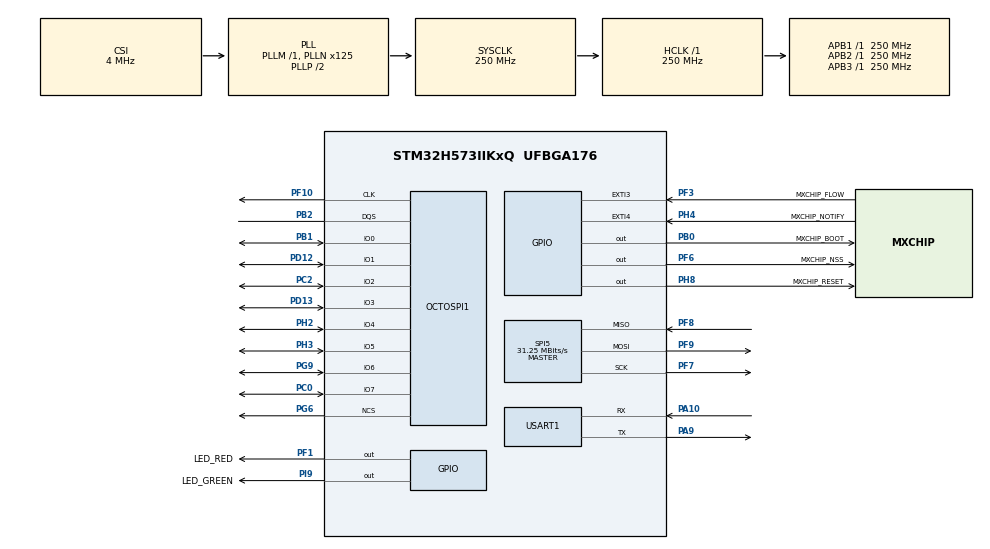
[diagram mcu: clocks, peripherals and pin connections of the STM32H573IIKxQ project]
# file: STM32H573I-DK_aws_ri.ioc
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CORTEX_M33_NS.AccessPermission-Cortex_Memory_Protection_Unit_Region0_Settings=MPU_REGION_PRIV_RO
CORTEX_M33_NS.BaseAddress-Cortex_Memory_Protection_Unit_Region0_Settings=0x08FFF800
CORTEX_M33_NS.DisableExec-Cortex_Memory_Protection_Unit_Region0_Settings=MPU_INSTRUCTION_ACCESS_DISABLE
CORTEX_M33_NS.Enable-Cortex_Memory_Protection_Unit_Region0_Settings=MPU_REGION_ENABLE
CORTEX_M33_NS.LimitAddress-Cortex_Memory_Protection_Unit_Region0_Settings=0x08FFF80C
CORTEX_M33_NS.MPU_Control=MPU_PRIVILEGED_DEFAULT
CORTEX_M33_NS.userName=CORTEX_M33
GPDMA1.DESTINC_GPDMACH4=DMA_DINC_INCREMENTED
GPDMA1.DIRECTION_GPDMACH5=DMA_MEMORY_TO_PERIPH
GPDMA1.IPHANDLE_GPDMACH4-SIMPLEREQUEST_GPDMACH4=__NULL
GPDMA1.IPHANDLE_GPDMACH5-SIMPLEREQUEST_GPDMACH5=__NULL
GPDMA1.PRIORITY_GPDMACH4=DMA_LOW_PRIORITY_HIGH_WEIGHT
GPDMA1.PRIORITY_GPDMACH5=DMA_LOW_PRIORITY_HIGH_WEIGHT
GPDMA1.REQUEST_GPDMACH4=GPDMA1_REQUEST_SPI5_RX
GPDMA1.REQUEST_GPDMACH5=GPDMA1_REQUEST_SPI5_TX
GPDMA1.SRCINC_GPDMACH5=DMA_SINC_INCREMENTED
GPDMA1.TRANSFERALLOCATEDPORTDEST_GPDMACH4=DMA_DEST_ALLOCATED_PORT1
GPDMA1.TRANSFERALLOCATEDPORTDEST_GPDMACH5=DMA_DEST_ALLOCATED_PORT1
IWDG.Prescaler=IWDG_PRESCALER_1024
IWDG.Reload=320
IWDG.Window=0xfff
Mcu.Family=STM32H5
Mcu.Name=STM32H573IIKxQ
Mcu.Package=UFBGA176
NVIC.EXTI3_IRQn=true\:5\:0\:true\:false\:true\:true\:true\:true
NVIC.EXTI4_IRQn=true\:5\:0\:true\:false\:true\:true\:true\:true
NVIC.GPDMA1_Channel4_IRQn=true\:5\:0\:true\:false\:true\:false\:true\:true
NVIC.GPDMA1_Channel5_IRQn=true\:5\:0\:true\:false\:true\:false\:true\:true
NVIC.OCTOSPI1_IRQn=true\:5\:0\:true\:false\:true\:true\:true\:true
NVIC.PriorityGroup=NVIC_PRIORITYGROUP_4
NVIC.RNG_IRQn=true\:5\:0\:true\:false\:true\:true\:true\:true
NVIC.SPI5_IRQn=true\:5\:0\:true\:false\:true\:true\:true\:true
NVIC.USART1_IRQn=true\:5\:0\:true\:false\:true\:true\:true\:true
OCTOSPI1.ChipSelectHighTimeCycle=2
OCTOSPI1.ClockPrescaler=4
OCTOSPI1.DelayBlockBypass=HAL_XSPI_DELAY_BLOCK_ON
OCTOSPI1.DelayHoldQuarterCycle=HAL_XSPI_DHQC_ENABLE
OCTOSPI1.FifoThresholdByte=4
OCTOSPI1.FreeRunningClock=HAL_XSPI_FREERUNCLK_ENABLE
OCTOSPI1.MemorySize=HAL_XSPI_SIZE_64MB
OCTOSPI1.MemoryType=HAL_XSPI_MEMTYPE_MACRONIX
OCTOSPI1.PhaseSel=2
OCTOSPI1.Units=56
PA10.Mode=Asynchronous
PA10.Signal=USART1_RX
PA9.Mode=Asynchronous
PA9.Signal=USART1_TX
PB0.GPIO_Label=MXCHIP_BOOT
PB0.PinState=GPIO_PIN_SET
PB0.Signal=GPIO_Output
PB1.Mode=octods_mode
PB1.Signal=OCTOSPI1_IO0
PB2.Mode=octods_mode
PB2.Signal=OCTOSPI1_DQS
PC0.Mode=octods_mode
PC0.Signal=OCTOSPI1_IO7
PC14-OSC32_IN(OSC32_IN).Mode=LSE-External-Oscillator
PC14-OSC32_IN(OSC32_IN).Signal=RCC_OSC32_IN
PC15-OSC32_OUT(OSC32_OUT).Mode=LSE-External-Oscillator
PC15-OSC32_OUT(OSC32_OUT).Signal=RCC_OSC32_OUT
PC2.Mode=octods_mode
PC2.Signal=OCTOSPI1_IO2
PD12.Mode=octods_mode
PD12.Signal=OCTOSPI1_IO1
PD13.Mode=octods_mode
PD13.Signal=OCTOSPI1_IO3
PF1.GPIO_Label=LED_RED
PF1.GPIO_Speed=GPIO_SPEED_FREQ_HIGH
PF1.Signal=GPIO_Output
PF10.Mode=octods_mode
PF10.Signal=OCTOSPI1_CLK
PF3.GPIO_Label=MXCHIP_FLOW
PF3.Signal=GPXTI3
PF6.GPIO_Label=MXCHIP_NSS
PF6.GPIO_Speed=GPIO_SPEED_FREQ_HIGH
PF6.PinState=GPIO_PIN_SET
PF6.Signal=GPIO_Output
PF7.GPIO_Speed=GPIO_SPEED_FREQ_HIGH
PF7.Mode=Full_Duplex_Master
PF7.Signal=SPI5_SCK
PF8.GPIO_Speed=GPIO_SPEED_FREQ_HIGH
PF8.Mode=Full_Duplex_Master
PF8.Signal=SPI5_MISO
PF9.GPIO_Speed=GPIO_SPEED_FREQ_HIGH
PF9.Mode=Full_Duplex_Master
PF9.Signal=SPI5_MOSI
PG6.GPIO_PuPd=GPIO_PULLUP
PG6.Mode=octods_mode
PG6.Signal=OCTOSPI1_NCS
PG9.Mode=octods_mode
PG9.Signal=OCTOSPI1_IO6
PH2.Mode=octods_mode
PH2.Signal=OCTOSPI1_IO4
PH3.Mode=octods_mode
PH3.Signal=OCTOSPI1_IO5
PH4.GPIO_Label=MXCHIP_NOTIFY
PH4.Signal=GPXTI4
PH8.GPIO_Label=MXCHIP_RESET
PH8.PinState=GPIO_PIN_SET
PH8.Signal=GPIO_Output
PI9.GPIO_Label=LED_GREEN
PI9.GPIO_Speed=GPIO_SPEED_FREQ_HIGH
PI9.Signal=GPIO_Output
ProjectManager.HeapSize=0x2000
ProjectManager.StackSize=0x2000
ProjectManager.TargetToolchain=STM32CubeIDE
RCC.ADCFreq_Value=250000000
RCC.AHBFreq_Value=250000000
RCC.APB1Freq_Value=250000000
RCC.APB1TimFreq_Value=250000000
RCC.APB2Freq_Value=250000000
RCC.APB2TimFreq_Value=250000000
RCC.APB3Freq_Value=250000000
RCC.CSI_VALUE=4000000
RCC.CortexFreq_Value=250000000
RCC.EPOD_VALUE=4000000
RCC.HCLKFreq_Value=250000000
RCC.HSE_VALUE=25000000
RCC.HSI48_VALUE=48000000
RCC.HSIDiv=RCC_HSI_DIV1
RCC.HSI_VALUE=64000000
RCC.LSIRC_VALUE=32000
RCC.OCTOSPIMCLockSelection=RCC_OSPICLKSOURCE_PLL2R
RCC.PLL2N=32
RCC.PLL2R=11
RCC.PLLN=125
RCC.SYSCLKFreq_VALUE=250000000
RCC.SYSCLKSource=RCC_SYSCLKSOURCE_PLLCLK
RCC.USBFreq_Value=48000000
RCC.VCOOutputFreq_Value=500000000
SPI5.BaudRatePrescaler=SPI_BAUDRATEPRESCALER_8
SPI5.CalculateBaudRate=31.25 MBits/s
SPI5.DataSize=SPI_DATASIZE_8BIT
SPI5.Direction=SPI_DIRECTION_2LINES
SPI5.Mode=SPI_MODE_MASTER
SPI5.NSSPMode=SPI_NSS_PULSE_DISABLE
SPI5.VirtualType=VM_MASTER
TIM5.PeriodNoDither=0xffffffff
TIM5.Prescaler=4096
USART1.FIFOMode=FIFOMODE_ENABLE
USART1.RXFIFOThreshold=RXFIFO_THRESHOLD_FULL
USART1.TXFIFOThreshold=TXFIFO_THRESHOLD_EMPTY
USART1.VirtualMode=VM_ASYNC
VP_DCACHE1_VS_DCACHE.Mode=DCACHE_Activate
VP_GPDMA1_VS_GPDMACH4.Mode=SIMPLEREQUEST_GPDMACH4
VP_GPDMA1_VS_GPDMACH5.Mode=SIMPLEREQUEST_GPDMACH5
VP_ICACHE_VS_ICACHE.Mode=DirectMappedCache
VP_IWDG_VS_IWDG.Mode=IWDG_Activate
VP_PWR_VS_SECSignals.Mode=Security/Privilege
VP_RNG_VS_RNG.Mode=RNG_Activate
VP_TIM5_VS_ClockSourceINT.Mode=Internal
board=custom

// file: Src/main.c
/* USER CODE BEGIN Header */
/**
  ******************************************************************************
  * @file           : main.c
  * @brief          : Main program body
  ******************************************************************************
  * @attention
  *
  * Copyright (c) 2022 STMicroelectronics.
  * All rights reserved.
  *
  * This software is licensed under terms that can be found in the LICENSE file
  * in the root directory of this software component.
  * If no LICENSE file comes with this software, it is provided AS-IS.
  *
  ******************************************************************************
  */
/* USER CODE END Header */
#include "main.h"

/* USER CODE BEGIN Includes */
#include "FreeRTOS.h"
#include "task.h"
#include "stdlib.h"
/* USER CODE END Includes */

DCACHE_HandleTypeDef hdcache1;

IWDG_HandleTypeDef hiwdg;

XSPI_HandleTypeDef hospi1;

RNG_HandleTypeDef hrng;

SPI_HandleTypeDef hspi5;
DMA_HandleTypeDef handle_GPDMA1_Channel5;
DMA_HandleTypeDef handle_GPDMA1_Channel4;

TIM_HandleTypeDef htim5;

UART_HandleTypeDef huart1;

/* USER CODE BEGIN PV */
const IotMappedPin_t xGpioMap[ GPIO_MAX ] =
{
    { MXCHIP_FLOW_GPIO_Port, MXCHIP_FLOW_Pin 		}, /* GPIO_MX_FLOW     */
    { MXCHIP_RESET_GPIO_Port, MXCHIP_RESET_Pin		}, /* GPIO_MX_RESET    */
    { MXCHIP_NSS_GPIO_Port, MXCHIP_NSS_Pin      	}, /* GPIO_MX_NSS      */
    { MXCHIP_NOTIFY_GPIO_Port, MXCHIP_NOTIFY_Pin 	}, /* GPIO_MX_NOTIFY   */
    { LED_RED_GPIO_Port, LED_RED_Pin            	}, /* GPIO_LED_RED     */
    { LED_GREEN_GPIO_Port, LED_GREEN_Pin        	}  /* GPIO_LED_GREEN   */
};
/* USER CODE END PV */

void SystemClock_Config(void);

static void MPU_Config(void);
static void MX_GPDMA1_Init(void);

void SystemClock_Config(void)
{
  RCC_OscInitTypeDef RCC_OscInitStruct = {0};
  RCC_ClkInitTypeDef RCC_ClkInitStruct = {0};

  /** Configure the main internal regulator output voltage
  */
  __HAL_PWR_VOLTAGESCALING_CONFIG(PWR_REGULATOR_VOLTAGE_SCALE0);

  while(!__HAL_PWR_GET_FLAG(PWR_FLAG_VOSRDY)) {}

  /** Initializes the RCC Oscillators according to the specified parameters
  * in the RCC_OscInitTypeDef structure.
  */
  RCC_OscInitStruct.OscillatorType = RCC_OSCILLATORTYPE_HSI48|RCC_OSCILLATORTYPE_LSI
                              |RCC_OSCILLATORTYPE_CSI;
  RCC_OscInitStruct.LSIState = RCC_LSI_ON;
  RCC_OscInitStruct.HSI48State = RCC_HSI48_ON;
  RCC_OscInitStruct.CSIState = RCC_CSI_ON;
  RCC_OscInitStruct.CSICalibrationValue = RCC_CSICALIBRATION_DEFAULT;
  RCC_OscInitStruct.PLL.PLLState = RCC_PLL_ON;
  RCC_OscInitStruct.PLL.PLLSource = RCC_PLL1_SOURCE_CSI;
  RCC_OscInitStruct.PLL.PLLM = 1;
  RCC_OscInitStruct.PLL.PLLN = 125;
  RCC_OscInitStruct.PLL.PLLP = 2;
  RCC_OscInitStruct.PLL.PLLQ = 2;
  RCC_OscInitStruct.PLL.PLLR = 2;
  RCC_OscInitStruct.PLL.PLLRGE = RCC_PLL1_VCIRANGE_2;
  RCC_OscInitStruct.PLL.PLLVCOSEL = RCC_PLL1_VCORANGE_WIDE;
  RCC_OscInitStruct.PLL.PLLFRACN = 0;
  if (HAL_RCC_OscConfig(&RCC_OscInitStruct) != HAL_OK)
  {
    Error_Handler();
  }

  /** Initializes the CPU, AHB and APB buses clocks
  */
  RCC_ClkInitStruct.ClockType = RCC_CLOCKTYPE_HCLK|RCC_CLOCKTYPE_SYSCLK
                              |RCC_CLOCKTYPE_PCLK1|RCC_CLOCKTYPE_PCLK2
                              |RCC_CLOCKTYPE_PCLK3;
  RCC_ClkInitStruct.SYSCLKSource = RCC_SYSCLKSOURCE_PLLCLK;
  RCC_ClkInitStruct.AHBCLKDivider = RCC_SYSCLK_DIV1;
  RCC_ClkInitStruct.APB1CLKDivider = RCC_HCLK_DIV1;
  RCC_ClkInitStruct.APB2CLKDivider = RCC_HCLK_DIV1;
  RCC_ClkInitStruct.APB3CLKDivider = RCC_HCLK_DIV1;

  if (HAL_RCC_ClockConfig(&RCC_ClkInitStruct, FLASH_LATENCY_5) != HAL_OK)
  {
    Error_Handler();
  }
}

void MX_DCACHE1_Init(void)
{

  hdcache1.Instance = DCACHE1;
  hdcache1.Init.ReadBurstType = DCACHE_READ_BURST_WRAP;
  if (HAL_DCACHE_Init(&hdcache1) != HAL_OK)
  {
    Error_Handler();
  }

}

static void MX_GPDMA1_Init(void)
{

  /* Peripheral clock enable */
  __HAL_RCC_GPDMA1_CLK_ENABLE();

  /* GPDMA1 interrupt Init */
    HAL_NVIC_SetPriority(GPDMA1_Channel4_IRQn, 5, 0);
    HAL_NVIC_EnableIRQ(GPDMA1_Channel4_IRQn);
    HAL_NVIC_SetPriority(GPDMA1_Channel5_IRQn, 5, 0);
    HAL_NVIC_EnableIRQ(GPDMA1_Channel5_IRQn);

}

void MX_ICACHE_Init(void)
{

  /** Enable instruction cache in 1-way (direct mapped cache)
  */
  if (HAL_ICACHE_ConfigAssociativityMode(ICACHE_1WAY) != HAL_OK)
  {
    Error_Handler();
  }
  if (HAL_ICACHE_Enable() != HAL_OK)
  {
    Error_Handler();
  }

}

void MX_IWDG_Init(void)
{

  hiwdg.Instance = IWDG;
  hiwdg.Init.Prescaler = IWDG_PRESCALER_1024;
  hiwdg.Init.Window = 0xfff;
  hiwdg.Init.Reload = 320;
  hiwdg.Init.EWI = 0;
  if (HAL_IWDG_Init(&hiwdg) != HAL_OK)
  {
    Error_Handler();
  }

}

void MX_OCTOSPI1_Init(void)
{

  HAL_XSPI_DLYB_CfgTypeDef HAL_OSPI_DLYB_Cfg_Struct = {0};

  /* OCTOSPI1 parameter configuration*/
  hospi1.Instance = OCTOSPI1;
  hospi1.Init.FifoThresholdByte = 4;
  hospi1.Init.MemoryMode = HAL_XSPI_SINGLE_MEM;
  hospi1.Init.MemoryType = HAL_XSPI_MEMTYPE_MACRONIX;
  hospi1.Init.MemorySize = HAL_XSPI_SIZE_64MB;
  hospi1.Init.ChipSelectHighTimeCycle = 2;
  hospi1.Init.FreeRunningClock = HAL_XSPI_FREERUNCLK_ENABLE;
  hospi1.Init.ClockMode = HAL_XSPI_CLOCK_MODE_0;
  hospi1.Init.WrapSize = HAL_XSPI_WRAP_NOT_SUPPORTED;
  hospi1.Init.ClockPrescaler = 4;
  hospi1.Init.SampleShifting = HAL_XSPI_SAMPLE_SHIFT_NONE;
  hospi1.Init.DelayHoldQuarterCycle = HAL_XSPI_DHQC_ENABLE;
  hospi1.Init.ChipSelectBoundary = HAL_XSPI_BONDARYOF_NONE;
  hospi1.Init.DelayBlockBypass = HAL_XSPI_DELAY_BLOCK_ON;
  hospi1.Init.Refresh = 0;
  if (HAL_XSPI_Init(&hospi1) != HAL_OK)
  {
    Error_Handler();
  }
  HAL_OSPI_DLYB_Cfg_Struct.Units = 56;
  HAL_OSPI_DLYB_Cfg_Struct.PhaseSel = 2;
  if (HAL_XSPI_DLYB_SetConfig(&hospi1, &HAL_OSPI_DLYB_Cfg_Struct) != HAL_OK)
  {
    Error_Handler();
  }

}

void MX_RNG_Init(void)
{

  /* USER CODE BEGIN RNG_Init 0 */
  uint32_t ulDummyValue = 0;
  /* USER CODE END RNG_Init 0 */

  hrng.Instance = RNG;
  hrng.Init.ClockErrorDetection = RNG_CED_ENABLE;
  if (HAL_RNG_Init(&hrng) != HAL_OK)
  {
    Error_Handler();
  }
  /* USER CODE BEGIN RNG_Init 2 */
  /* Ignore first random value returned */
  ( void ) HAL_RNG_GenerateRandomNumber( &hrng, &ulDummyValue );
  /* Seed the libc rand() source */
  ( void ) HAL_RNG_GenerateRandomNumber( &hrng, &ulDummyValue );
  srand(ulDummyValue);

  /* USER CODE END RNG_Init 2 */

}

void MX_SPI5_Init(void)
{

  /* SPI5 parameter configuration*/
  hspi5.Instance = SPI5;
  hspi5.Init.Mode = SPI_MODE_MASTER;
  hspi5.Init.Direction = SPI_DIRECTION_2LINES;
  hspi5.Init.DataSize = SPI_DATASIZE_8BIT;
  hspi5.Init.CLKPolarity = SPI_POLARITY_LOW;
  hspi5.Init.CLKPhase = SPI_PHASE_1EDGE;
  hspi5.Init.NSS = SPI_NSS_SOFT;
  hspi5.Init.BaudRatePrescaler = SPI_BAUDRATEPRESCALER_8;
  hspi5.Init.FirstBit = SPI_FIRSTBIT_MSB;
  hspi5.Init.TIMode = SPI_TIMODE_DISABLE;
  hspi5.Init.CRCCalculation = SPI_CRCCALCULATION_DISABLE;
  hspi5.Init.CRCPolynomial = 0x7;
  hspi5.Init.NSSPMode = SPI_NSS_PULSE_DISABLE;
  hspi5.Init.NSSPolarity = SPI_NSS_POLARITY_LOW;
  hspi5.Init.FifoThreshold = SPI_FIFO_THRESHOLD_01DATA;
  hspi5.Init.MasterSSIdleness = SPI_MASTER_SS_IDLENESS_00CYCLE;
  hspi5.Init.MasterInterDataIdleness = SPI_MASTER_INTERDATA_IDLENESS_00CYCLE;
  hspi5.Init.MasterReceiverAutoSusp = SPI_MASTER_RX_AUTOSUSP_DISABLE;
  hspi5.Init.MasterKeepIOState = SPI_MASTER_KEEP_IO_STATE_DISABLE;
  hspi5.Init.IOSwap = SPI_IO_SWAP_DISABLE;
  hspi5.Init.ReadyMasterManagement = SPI_RDY_MASTER_MANAGEMENT_INTERNALLY;
  hspi5.Init.ReadyPolarity = SPI_RDY_POLARITY_HIGH;
  if (HAL_SPI_Init(&hspi5) != HAL_OK)
  {
    Error_Handler();
  }

}

void MX_TIM5_Init(void)
{

  TIM_ClockConfigTypeDef sClockSourceConfig = {0};
  TIM_MasterConfigTypeDef sMasterConfig = {0};

  htim5.Instance = TIM5;
  htim5.Init.Prescaler = 4096;
  htim5.Init.CounterMode = TIM_COUNTERMODE_UP;
  htim5.Init.Period = 4.294967295E9;
  htim5.Init.ClockDivision = TIM_CLOCKDIVISION_DIV1;
  htim5.Init.AutoReloadPreload = TIM_AUTORELOAD_PRELOAD_DISABLE;
  if (HAL_TIM_Base_Init(&htim5) != HAL_OK)
  {
    Error_Handler();
  }
  sClockSourceConfig.ClockSource = TIM_CLOCKSOURCE_INTERNAL;
  if (HAL_TIM_ConfigClockSource(&htim5, &sClockSourceConfig) != HAL_OK)
  {
    Error_Handler();
  }
  sMasterConfig.MasterOutputTrigger = TIM_TRGO_RESET;
  sMasterConfig.MasterSlaveMode = TIM_MASTERSLAVEMODE_DISABLE;
  if (HAL_TIMEx_MasterConfigSynchronization(&htim5, &sMasterConfig) != HAL_OK)
  {
    Error_Handler();
  }
  /* USER CODE BEGIN TIM5_Init 2 */
  if (HAL_TIM_Base_Start( &htim5 )!= HAL_OK)
  {
    Error_Handler();
  }
  /* USER CODE END TIM5_Init 2 */

}

void MX_USART1_UART_Init(void)
{

  huart1.Instance = USART1;
  huart1.Init.BaudRate = 115200;
  huart1.Init.WordLength = UART_WORDLENGTH_8B;
  huart1.Init.StopBits = UART_STOPBITS_1;
  huart1.Init.Parity = UART_PARITY_NONE;
  huart1.Init.Mode = UART_MODE_TX_RX;
  huart1.Init.HwFlowCtl = UART_HWCONTROL_NONE;
  huart1.Init.OverSampling = UART_OVERSAMPLING_16;
  huart1.Init.OneBitSampling = UART_ONE_BIT_SAMPLE_DISABLE;
  huart1.Init.ClockPrescaler = UART_PRESCALER_DIV1;
  huart1.AdvancedInit.AdvFeatureInit = UART_ADVFEATURE_NO_INIT;
  if (HAL_UART_Init(&huart1) != HAL_OK)
  {
    Error_Handler();
  }
  if (HAL_UARTEx_SetTxFifoThreshold(&huart1, UART_TXFIFO_THRESHOLD_8_8) != HAL_OK)
  {
    Error_Handler();
  }
  if (HAL_UARTEx_SetRxFifoThreshold(&huart1, UART_RXFIFO_THRESHOLD_8_8) != HAL_OK)
  {
    Error_Handler();
  }
  if (HAL_UARTEx_EnableFifoMode(&huart1) != HAL_OK)
  {
    Error_Handler();
  }

}

void MX_GPIO_Init(void)
{
  GPIO_InitTypeDef GPIO_InitStruct = {0};

  /* GPIO Ports Clock Enable */
  __HAL_RCC_GPIOG_CLK_ENABLE();
  __HAL_RCC_GPIOC_CLK_ENABLE();
  __HAL_RCC_GPIOI_CLK_ENABLE();
  __HAL_RCC_GPIOA_CLK_ENABLE();
  __HAL_RCC_GPIOF_CLK_ENABLE();
  __HAL_RCC_GPIOD_CLK_ENABLE();
  __HAL_RCC_GPIOB_CLK_ENABLE();
  __HAL_RCC_GPIOH_CLK_ENABLE();

  /*Configure GPIO pin Output Level */
  HAL_GPIO_WritePin(LED_GREEN_GPIO_Port, LED_GREEN_Pin, GPIO_PIN_RESET);

  /*Configure GPIO pin Output Level */
  HAL_GPIO_WritePin(LED_RED_GPIO_Port, LED_RED_Pin, GPIO_PIN_RESET);

  /*Configure GPIO pin Output Level */
  HAL_GPIO_WritePin(MXCHIP_NSS_GPIO_Port, MXCHIP_NSS_Pin, GPIO_PIN_SET);

  /*Configure GPIO pin Output Level */
  HAL_GPIO_WritePin(MXCHIP_RESET_GPIO_Port, MXCHIP_RESET_Pin, GPIO_PIN_SET);

  /*Configure GPIO pin Output Level */
  HAL_GPIO_WritePin(MXCHIP_BOOT_GPIO_Port, MXCHIP_BOOT_Pin, GPIO_PIN_SET);

  /*Configure GPIO pin : LED_GREEN_Pin */
  GPIO_InitStruct.Pin = LED_GREEN_Pin;
  GPIO_InitStruct.Mode = GPIO_MODE_OUTPUT_PP;
  GPIO_InitStruct.Pull = GPIO_NOPULL;
  GPIO_InitStruct.Speed = GPIO_SPEED_FREQ_HIGH;
  HAL_GPIO_Init(LED_GREEN_GPIO_Port, &GPIO_InitStruct);

  /*Configure GPIO pins : LED_RED_Pin MXCHIP_NSS_Pin */
  GPIO_InitStruct.Pin = LED_RED_Pin|MXCHIP_NSS_Pin;
  GPIO_InitStruct.Mode = GPIO_MODE_OUTPUT_PP;
  GPIO_InitStruct.Pull = GPIO_NOPULL;
  GPIO_InitStruct.Speed = GPIO_SPEED_FREQ_HIGH;
  HAL_GPIO_Init(GPIOF, &GPIO_InitStruct);

  /*Configure GPIO pin : MXCHIP_FLOW_Pin */
  GPIO_InitStruct.Pin = MXCHIP_FLOW_Pin;
  GPIO_InitStruct.Mode = GPIO_MODE_IT_RISING;
  GPIO_InitStruct.Pull = GPIO_NOPULL;
  HAL_GPIO_Init(MXCHIP_FLOW_GPIO_Port, &GPIO_InitStruct);

  /*Configure GPIO pin : MXCHIP_RESET_Pin */
  GPIO_InitStruct.Pin = MXCHIP_RESET_Pin;
  GPIO_InitStruct.Mode = GPIO_MODE_OUTPUT_PP;
  GPIO_InitStruct.Pull = GPIO_NOPULL;
  GPIO_InitStruct.Speed = GPIO_SPEED_FREQ_LOW;
  HAL_GPIO_Init(MXCHIP_RESET_GPIO_Port, &GPIO_InitStruct);

  /*Configure GPIO pin : MXCHIP_NOTIFY_Pin */
  GPIO_InitStruct.Pin = MXCHIP_NOTIFY_Pin;
  GPIO_InitStruct.Mode = GPIO_MODE_IT_RISING;
  GPIO_InitStruct.Pull = GPIO_NOPULL;
  HAL_GPIO_Init(MXCHIP_NOTIFY_GPIO_Port, &GPIO_InitStruct);

  /*Configure GPIO pin : MXCHIP_BOOT_Pin */
  GPIO_InitStruct.Pin = MXCHIP_BOOT_Pin;
  GPIO_InitStruct.Mode = GPIO_MODE_OUTPUT_PP;
  GPIO_InitStruct.Pull = GPIO_NOPULL;
  GPIO_InitStruct.Speed = GPIO_SPEED_FREQ_LOW;
  HAL_GPIO_Init(MXCHIP_BOOT_GPIO_Port, &GPIO_InitStruct);

  /* EXTI interrupt init*/
  HAL_NVIC_SetPriority(EXTI3_IRQn, 5, 0);
  HAL_NVIC_EnableIRQ(EXTI3_IRQn);

  HAL_NVIC_SetPriority(EXTI4_IRQn, 5, 0);
  HAL_NVIC_EnableIRQ(EXTI4_IRQn);

}

/* USER CODE BEGIN 4 */
void hw_init( void )
{
  MPU_Config();

  /* Reset of all peripherals, Initializes the Flash interface and the Systick. */
  HAL_Init();

  /* Configure the system clock */
  SystemClock_Config();
  /* Initialize all configured peripherals */
  MX_GPIO_Init();
  MX_GPDMA1_Init();
  MX_RNG_Init();
  MX_ICACHE_Init();
  MX_DCACHE1_Init();
  MX_OCTOSPI1_Init();
  MX_TIM5_Init();
  MX_USART1_UART_Init();
  MX_SPI5_Init();
 // MX_IWDG_Init();

  /* Initialize uart for logging before cli is up and running */
  vInitLoggingEarly();
}

void HAL_Delay( uint32_t ulDelayMs )
{
    if( xTaskGetSchedulerState() != taskSCHEDULER_NOT_STARTED )
    {
        vTaskDelay( pdMS_TO_TICKS( ulDelayMs ) );
    }
    else
    {
        uint32_t ulStartTick = HAL_GetTick();
        uint32_t ulTicksWaited = ulDelayMs;

        /* Add a freq to guarantee minimum wait */
        if( ulTicksWaited < HAL_MAX_DELAY )
        {
            ulTicksWaited += ( uint32_t ) ( HAL_GetTickFreq() );
        }

        while( ( HAL_GetTick() - ulStartTick ) < ulTicksWaited )
        {
            __NOP();
        }
    }
}

/* USER CODE END 4 */

/* MPU Configuration */

void MPU_Config(void)
{
  MPU_Region_InitTypeDef MPU_InitStruct = {0};
  MPU_Attributes_InitTypeDef MPU_AttributesInit = {0};

  /* Disables the MPU */
  HAL_MPU_Disable();

  /** Initializes and configures the Region and the memory to be protected
  */
  MPU_InitStruct.Enable = MPU_REGION_ENABLE;
  MPU_InitStruct.Number = MPU_REGION_NUMBER0;
  MPU_InitStruct.BaseAddress = FLASHSIZE_BASE;
  MPU_InitStruct.LimitAddress = FLASHSIZE_BASE + sizeof(uint32_t);
  MPU_InitStruct.AttributesIndex = MPU_ATTRIBUTES_NUMBER0;
  MPU_InitStruct.AccessPermission = MPU_REGION_PRIV_RO;
  MPU_InitStruct.DisableExec = MPU_INSTRUCTION_ACCESS_DISABLE;
  MPU_InitStruct.IsShareable = MPU_ACCESS_NOT_SHAREABLE;

  HAL_MPU_ConfigRegion(&MPU_InitStruct);
  MPU_AttributesInit.Number = MPU_REGION_NUMBER0;
  MPU_AttributesInit.Attributes = MPU_DEVICE_nGnRnE | MPU_WRITE_THROUGH
                              | MPU_TRANSIENT | MPU_NO_ALLOCATE;

  HAL_MPU_ConfigMemoryAttributes(&MPU_AttributesInit);
  /* Enables the MPU */
  HAL_MPU_Enable(MPU_PRIVILEGED_DEFAULT);

}

void Error_Handler(void)
{
  __disable_irq();
  while (1)
  {
  }
}
